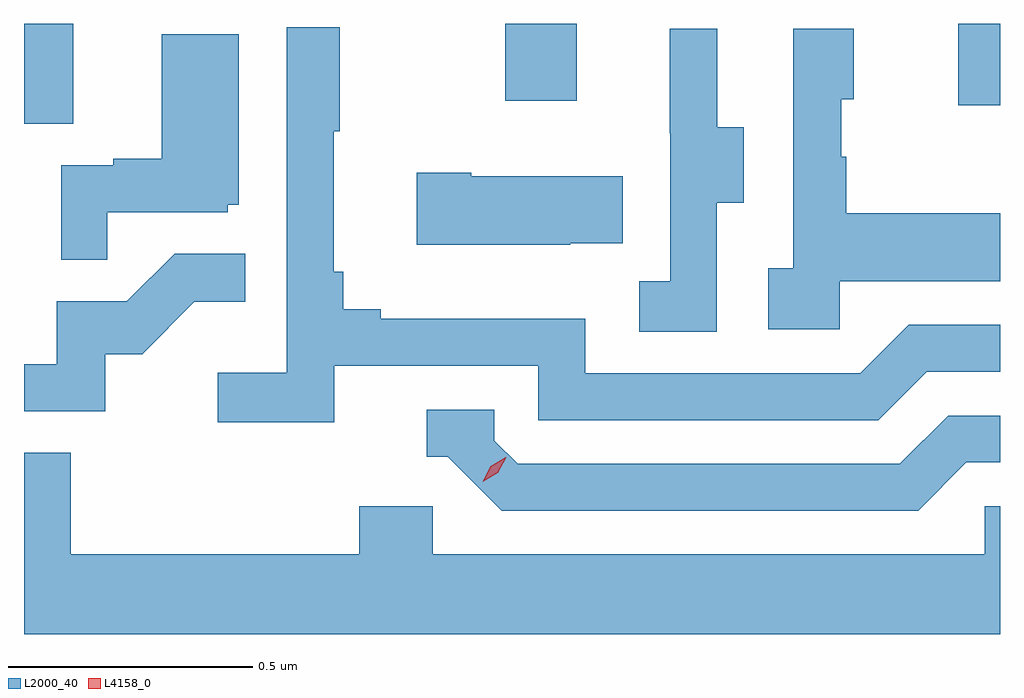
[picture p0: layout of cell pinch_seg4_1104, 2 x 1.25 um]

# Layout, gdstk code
import gdstk
lib = gdstk.Library(unit=1e-6, precision=1e-09)
def R(c, l, rs):  # rectangles x0, y0, x1, y1
    for r in rs: c.add(gdstk.rectangle(r[:2], r[2:], *l))
def P(c, l, *ps):  # polygons
    for p in ps: c.add(gdstk.Polygon(p, *l))
L2000_40 = (2000, 40)
L4158_0 = (4158, 0)

pinch_seg4_1104 = lib.new_cell('pinch_seg4_1104')
R(pinch_seg4_1104, L2000_40, [(867.248,765.898,867.349,766.103), (869.162,765.936,869.248,766.103), (868.234,765.945,868.381,766.103)])
P(pinch_seg4_1104, L2000_40, [(867.884,765.402),(868.302,765.402),(868.302,765.291),(868.999,765.291),(869.098,765.39),(869.248,765.39),(869.248,765.486),(869.061,765.486),(868.962,765.387),(868.398,765.387),(868.398,765.499),(867.979,765.499),(867.979,765.518),(867.902,765.518),(867.902,765.595),(867.883,765.595),(867.883,765.883),(867.895,765.883),(867.895,766.096),(867.786,766.096),(867.786,765.388),(867.645,765.388),(867.645,765.286),(867.884,765.286)],
  [(868.668,765.736),(868.723,765.736),(868.723,765.891),(868.669,765.891),(868.669,766.093),(868.571,766.093),(868.571,765.879),(868.572,765.879),(868.572,765.575),(868.509,765.575),(868.509,765.472),(868.668,765.472)],
  [(868.92,765.575),(869.248,765.575),(869.248,765.715),(868.933,765.715),(868.933,765.83),(868.923,765.83),(868.923,765.948),(868.948,765.948),(868.948,766.093),(868.824,766.093),(868.824,765.602),(868.773,765.602),(868.773,765.477),(868.92,765.477)],
  [(867.419,765.717),(867.666,765.717),(867.666,765.732),(867.688,765.732),(867.688,766.081),(867.53,766.081),(867.53,765.826),(867.431,765.826),(867.431,765.813),(867.324,765.813),(867.324,765.619),(867.419,765.619)],
  [(868.367,765.653),(868.475,765.653),(868.475,765.79),(868.165,765.79),(868.165,765.798),(868.053,765.798),(868.053,765.65),(868.367,765.65)],
  [(867.414,765.426),(867.49,765.426),(867.597,765.533),(867.701,765.533),(867.701,765.632),(867.557,765.632),(867.459,765.534),(867.315,765.534),(867.315,765.405),(867.248,765.405),(867.248,765.309),(867.414,765.309)],
  [(869.179,765.204),(869.248,765.204),(869.248,765.3),(869.142,765.3),(869.043,765.201),(868.26,765.201),(868.212,765.249),(868.212,765.312),(868.073,765.312),(868.073,765.216),(868.116,765.216),(868.227,765.105),(869.08,765.105)],
  [(867.248,765.224),(867.248,764.852),(869.248,764.852),(869.248,765.114),(869.217,765.114),(869.217,765.016),(868.086,765.016),(868.086,765.114),(867.935,765.114),(867.935,765.016),(867.344,765.016),(867.344,765.224)])
P(pinch_seg4_1104, L4158_0, [(868.188,765.164),(868.188,765.164),(868.204,765.196),(868.235,765.215),(868.236,765.215),(868.236,765.215),(868.219,765.183),(868.188,765.164)])

lib.write_gds('pinch_seg4_1104.gds')
